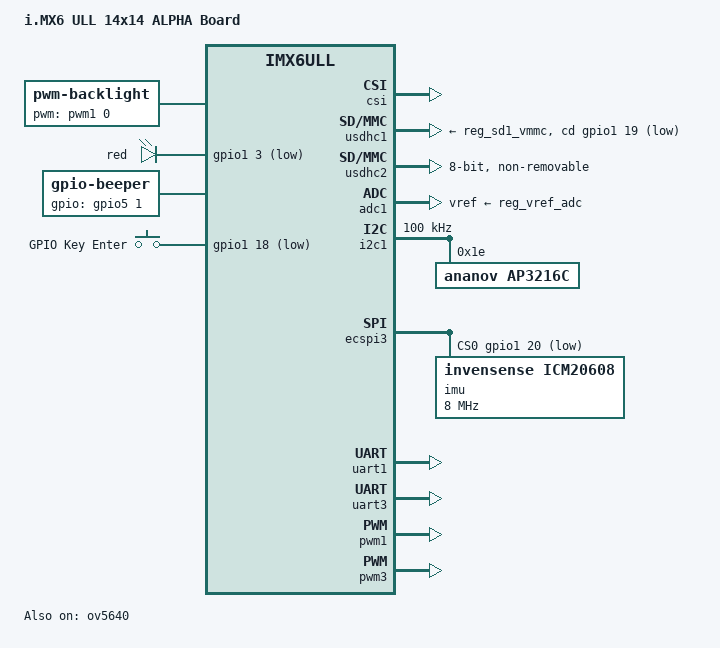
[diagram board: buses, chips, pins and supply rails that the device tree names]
/*
 * @Author: jianghao0302 312143663@qq.com
 * @Date: 2025-11-26 18:54:45
 * @LastEditors: jianghao0302 312143663@qq.com
 * @LastEditTime: 2025-11-26 22:23:44
 * @FilePath: /uboot-imx/arch/arm/dts/imx6ull-14x14-alpha-emmc.dts
 * @Description: 这是默认设置,请设置`customMade`, 打开koroFileHeader查看配置 进行设置: https://github.com/OBKoro1/koro1FileHeader/wiki/%E9%85%8D%E7%BD%AE
 */
// SPDX-License-Identifier: (GPL-2.0 OR MIT)
//
// Copyright (C) 2016 Freescale Semiconductor, Inc.

/dts-v1/;

#include "imx6ull-alpha.dtsi"
#include "imx6ull-14x14-alpha.dtsi"
#include "imx6ull-14x14-alpha-u-boot.dtsi"

/ {
	model = "i.MX6 ULL 14x14 ALPHA Board";
	compatible = "alpha,imx6ull-14x14-alpha-emmc", "fsl,imx6ull-14x14-evk", "fsl,imx6ull";

	backlight {
		compatible = "pwm-backlight";
		pwms = <&pwm1 0 500000>;
		brightness-levels = <0 4 8 16 32 64 128 255>;
		default-brightness-level = <6>;
		status = "okay";
	};

	leds {
		compatible = "gpio-leds";
		pinctrl-names = "default";
		pinctrl-0 = <&pinctrl_gpio_leds>;

		led1 {
			label = "red";
			gpios = <&gpio1 3 GPIO_ACTIVE_LOW>;
			default-state = "on";
		};
	};

	beeper {
		compatible = "gpio-beeper";
		pinctrl-names = "default";
		pinctrl-0 = <&pinctrl_beep>;
		gpios = <&gpio5 1 GPIO_ACTIVE_HIGH>;
		status = "okay";
	};

	gpio-keys {
		compatible = "gpio-keys";
		pinctrl-names = "default";
		pinctrl-0 = <&pinctrl_gpio_keys>;
		#address-cells = <1>;
		#size-cells = <0>;
		autorepeat;

		enter-key {
			debounce-interval = <10>;
			gpios = <&gpio1 18 GPIO_ACTIVE_LOW>;
			label = "GPIO Key Enter";
			linux,code = <KEY_ENTER>;
		};
	};
};

&clks {
	assigned-clocks = <&clks IMX6UL_CLK_PLL3_PFD2>,
			  <&clks IMX6UL_CLK_PLL4_AUDIO_DIV>;
	assigned-clock-rates = <320000000>, <786432000>;
};

&csi {
	status = "okay";
};

&ov5640 {
	status = "okay";
};

&usdhc1 {
	pinctrl-names = "default", "state_100mhz", "state_200mhz";
	pinctrl-0 = <&pinctrl_usdhc1>;
	pinctrl-1 = <&pinctrl_usdhc1_100mhz>;
	pinctrl-2 = <&pinctrl_usdhc1_200mhz>;
	cd-gpios = <&gpio1 19 GPIO_ACTIVE_LOW>;
	keep-power-in-suspend;
	wakeup-source;
	vmmc-supply = <&reg_sd1_vmmc>;
	status = "okay";
};

&usdhc2 {
	pinctrl-names = "default", "state_100mhz", "state_200mhz";
	pinctrl-0 = <&pinctrl_usdhc2_8bit>;
	pinctrl-1 = <&pinctrl_usdhc2_8bit_100mhz>;
	pinctrl-2 = <&pinctrl_usdhc2_8bit_200mhz>;
	bus-width = <8>;
	non-removable;
	keep-power-in-suspend;
	wakeup-source;
	status = "okay";
};

&adc1 {
	pinctrl-names = "default";
	pinctrl-0 = <&pinctrl_adc1>;
	num-channels = <2>;
	vref-supply = <&reg_vref_adc>;
	status = "okay";
};

&i2c1 {
	clock-frequency = <100000>;
	pinctrl-names = "default";
	pinctrl-0 = <&pinctrl_i2c1>;
	status = "okay";

	ap3216c@1e {
		compatible = "ananov,ap3216c";
		reg = <0x1e>;
	};
};

&ecspi3 {
	fsl,spi-num-chipselects = <1>;
	cs-gpios = <&gpio1 20 GPIO_ACTIVE_LOW>;
	pinctrl-names = "default";
	pinctrl-0 = <&pinctrl_spi3>;
	status = "okay";

	imu: icm20608@0 {
		compatible = "invensense,icm20608";
		spi-max-frequency = <8000000>;
		reg = <0>;
	};
};

&uart1 {
	pinctrl-names = "default";
	pinctrl-0 = <&pinctrl_uart1>;
	status = "okay";
};

&uart3 {
	pinctrl-names = "default";
	pinctrl-0 = <&pinctrl_uart3>;
	status = "okay";
};

&pwm1 {
	#pwm-cells = <2>;
	pinctrl-names = "default";
	pinctrl-0 = <&pinctrl_pwm1>;
	status = "okay";
};

&pwm3 {
	pinctrl-names = "default";
	pinctrl-0 = <&pinctrl_pwm3>;
	status = "okay";
};

